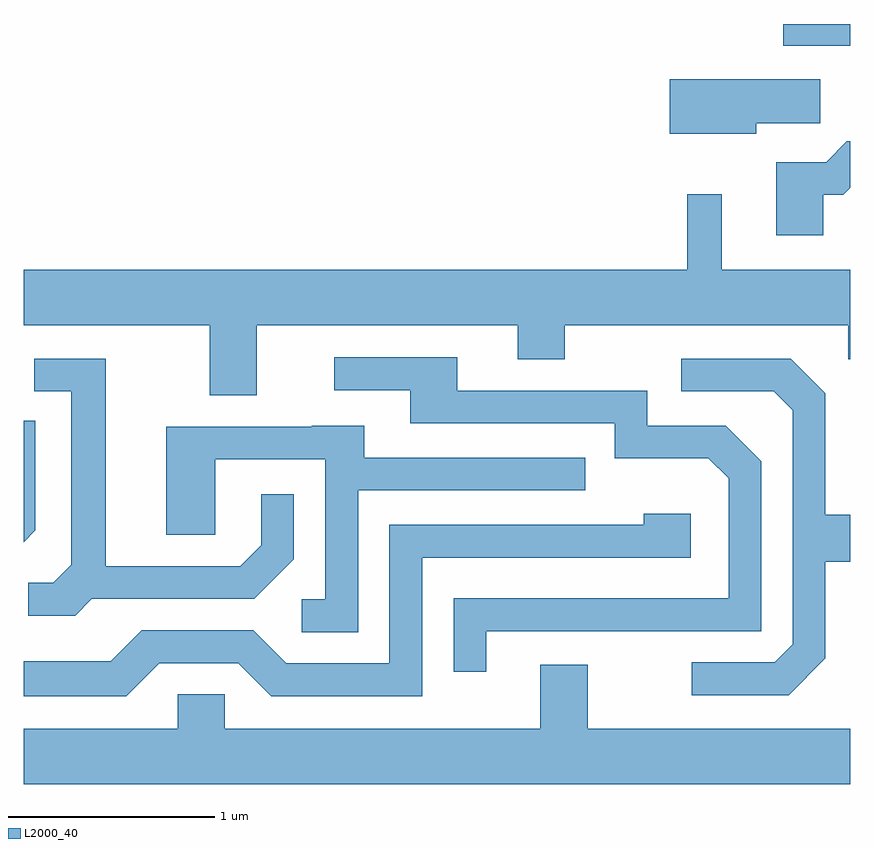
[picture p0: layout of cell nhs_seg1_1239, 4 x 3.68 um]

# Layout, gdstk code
import gdstk
lib = gdstk.Library(unit=1e-6, precision=1e-09)
def R(c, l, rs):  # rectangles x0, y0, x1, y1
    for r in rs: c.add(gdstk.rectangle(r[:2], r[2:], *l))
def P(c, l, *ps):  # polygons
    for p in ps: c.add(gdstk.Polygon(p, *l))
L2000_40 = (2000, 40)

nhs_seg1_1239 = lib.new_cell('nhs_seg1_1239')
R(nhs_seg1_1239, L2000_40, [(227.286,887.606,227.611,887.712)])
P(nhs_seg1_1239, L2000_40, [(227.154,887.231),(227.464,887.231),(227.464,887.444),(226.736,887.444),(226.736,887.181),(227.154,887.181)],
  [(227.479,886.886),(227.577,886.886),(227.611,886.92),(227.611,887.144),(227.594,887.144),(227.494,887.044),(227.251,887.044),(227.251,886.691),(227.479,886.691)],
  [(224.739,886.256),(226.001,886.256),(226.001,886.091),(226.229,886.091),(226.229,886.256),(227.601,886.256),(227.601,886.091),(227.611,886.091),(227.611,886.524),(226.989,886.524),(226.989,886.888),(226.821,886.888),(226.821,886.524),(223.611,886.524),(223.611,886.256),(224.511,886.256),(224.511,885.916),(224.739,885.916)],
  [(225.849,884.776),(227.179,884.776),(227.179,885.597),(227.007,885.769),(226.629,885.769),(226.629,885.939),(225.709,885.939),(225.709,886.099),(225.113,886.099),(225.113,885.941),(225.481,885.941),(225.481,885.781),(226.471,885.781),(226.471,885.611),(226.924,885.611),(227.021,885.514),(227.021,884.934),(225.691,884.934),(225.691,884.578),(225.849,884.578)],
  [(227.489,884.644),(227.489,885.111),(227.611,885.111),(227.611,885.339),(227.489,885.339),(227.489,885.927),(227.322,886.094),(226.793,886.094),(226.793,885.936),(227.239,885.936),(227.331,885.844),(227.331,884.712),(227.244,884.624),(226.843,884.624),(226.843,884.466),(227.312,884.466)],
  [(223.942,884.931),(224.727,884.931),(224.919,885.124),(224.919,885.438),(224.761,885.438),(224.761,885.192),(224.659,885.089),(224.009,885.089),(224.009,886.094),(223.663,886.094),(223.663,885.936),(223.841,885.936),(223.841,885.097),(223.754,885.009),(223.633,885.009),(223.633,884.851),(223.862,884.851)],
  [(223.669,885.264),(223.669,885.793),(223.611,885.793),(223.611,885.206)],
  [(225.229,885.456),(226.328,885.456),(226.328,885.614),(225.259,885.614),(225.259,885.769),(225.005,885.769),(225.005,885.764),(224.301,885.764),(224.301,885.241),(224.539,885.241),(224.539,885.606),(225.071,885.606),(225.071,884.929),(224.958,884.929),(224.958,884.771),(225.229,884.771)],
  [(224.267,884.621),(224.649,884.621),(224.809,884.461),(225.539,884.461),(225.539,885.131),(226.839,885.131),(226.839,885.344),(226.611,885.344),(226.611,885.289),(225.381,885.289),(225.381,884.619),(224.882,884.619),(224.722,884.779),(224.184,884.779),(224.034,884.629),(223.611,884.629),(223.611,884.461),(224.107,884.461)],
  [(227.611,884.304),(226.339,884.304),(226.339,884.614),(226.111,884.614),(226.111,884.304),(224.584,884.304),(224.584,884.469),(224.356,884.469),(224.356,884.304),(223.611,884.304),(223.611,884.036),(227.611,884.036)])

lib.write_gds('nhs_seg1_1239.gds')
